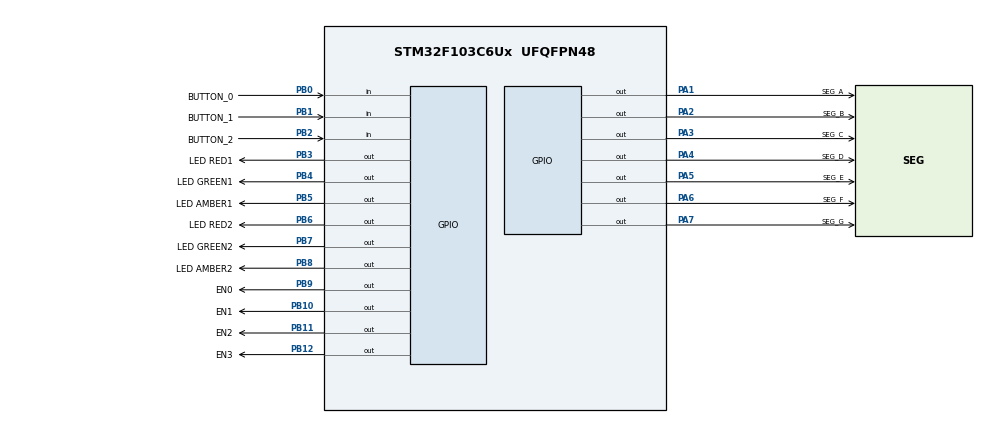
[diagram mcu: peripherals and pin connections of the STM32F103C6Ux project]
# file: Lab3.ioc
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Mcu.Family=STM32F1
Mcu.Name=STM32F103C6Ux
Mcu.Package=UFQFPN48
NVIC.PriorityGroup=NVIC_PRIORITYGROUP_4
NVIC.TIM2_IRQn=true\:0\:0\:false\:false\:true\:true\:true
PA1.GPIO_Label=SEG_A
PA1.Signal=GPIO_Output
PA2.GPIO_Label=SEG_B
PA2.Signal=GPIO_Output
PA3.GPIO_Label=SEG_C
PA3.Signal=GPIO_Output
PA4.GPIO_Label=SEG_D
PA4.Signal=GPIO_Output
PA5.GPIO_Label=SEG_E
PA5.Signal=GPIO_Output
PA6.GPIO_Label=SEG_F
PA6.Signal=GPIO_Output
PA7.GPIO_Label=SEG_G
PA7.Signal=GPIO_Output
PB0.GPIO_Label=BUTTON_0
PB0.Signal=GPIO_Input
PB1.GPIO_Label=BUTTON_1
PB1.Signal=GPIO_Input
PB10.GPIO_Label=EN1
PB10.Signal=GPIO_Output
PB11.GPIO_Label=EN2
PB11.Signal=GPIO_Output
PB12.GPIO_Label=EN3
PB12.Signal=GPIO_Output
PB2.GPIO_Label=BUTTON_2
PB2.Signal=GPIO_Input
PB3.GPIO_Label=LED RED1
PB3.Signal=GPIO_Output
PB4.GPIO_Label=LED GREEN1
PB4.Signal=GPIO_Output
PB5.GPIO_Label=LED AMBER1
PB5.Signal=GPIO_Output
PB6.GPIO_Label=LED RED2
PB6.Signal=GPIO_Output
PB7.GPIO_Label=LED GREEN2
PB7.Signal=GPIO_Output
PB8.GPIO_Label=LED AMBER2
PB8.Signal=GPIO_Output
PB9.GPIO_Label=EN0
PB9.Signal=GPIO_Output
ProjectManager.HeapSize=0x200
ProjectManager.StackSize=0x400
ProjectManager.TargetToolchain=STM32CubeIDE
RCC.APB1Freq_Value=8000000
RCC.APB2Freq_Value=8000000
TIM2.Period=9
TIM2.Prescaler=7999
VP_SYS_VS_ND.Mode=No_Debug
VP_TIM2_VS_ClockSourceINT.Mode=Internal
board=custom

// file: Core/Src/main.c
/* USER CODE BEGIN Header */
/* USER CODE END Header */
#include "main.h"

/* USER CODE BEGIN Includes */
#include "input_reading.h"
#include "software_timer.h"
#include "traffic_led.h"
#include "led_display.h"
#include "fsm.h"
/* USER CODE END Includes */

TIM_HandleTypeDef htim2;

void SystemClock_Config(void);
static void MX_GPIO_Init(void);
static void MX_TIM2_Init(void);

int main(void)
{

  /* MCU Configuration--------------------------------------------------------*/

  /* Reset of all peripherals, Initializes the Flash interface and the Systick. */
  HAL_Init();

  /* Configure the system clock */
  SystemClock_Config();

  /* Initialize all configured peripherals */
  MX_GPIO_Init();
  MX_TIM2_Init();
  /* USER CODE BEGIN 2 */
  HAL_TIM_Base_Start_IT (&htim2 );

   readButtonInit();
   LED_TRAFFIC_STORE_BUFFER(5, 0);
   LED_TRAFFIC_STORE_BUFFER(2, 1);
   LED_TRAFFIC_STORE_BUFFER(3, 2);
   LED_TRAFFIC_LOAD_BUFFER();

   setTimer(1000);
   setBlinkLedTimer(250);
   setLED7Timer(1000);
  /* USER CODE END 2 */

  /* Infinite loop */
  /* USER CODE BEGIN WHILE */
  while (1){
	  fsm_output_handle();
  }
    /* USER CODE END WHILE */

}

void SystemClock_Config(void)
{
  RCC_OscInitTypeDef RCC_OscInitStruct = {0};
  RCC_ClkInitTypeDef RCC_ClkInitStruct = {0};

  /** Initializes the RCC Oscillators according to the specified parameters
  * in the RCC_OscInitTypeDef structure.
  */
  RCC_OscInitStruct.OscillatorType = RCC_OSCILLATORTYPE_HSI;
  RCC_OscInitStruct.HSIState = RCC_HSI_ON;
  RCC_OscInitStruct.HSICalibrationValue = RCC_HSICALIBRATION_DEFAULT;
  RCC_OscInitStruct.PLL.PLLState = RCC_PLL_NONE;
  if (HAL_RCC_OscConfig(&RCC_OscInitStruct) != HAL_OK)
  {
    Error_Handler();
  }
  /** Initializes the CPU, AHB and APB buses clocks
  */
  RCC_ClkInitStruct.ClockType = RCC_CLOCKTYPE_HCLK|RCC_CLOCKTYPE_SYSCLK
                              |RCC_CLOCKTYPE_PCLK1|RCC_CLOCKTYPE_PCLK2;
  RCC_ClkInitStruct.SYSCLKSource = RCC_SYSCLKSOURCE_HSI;
  RCC_ClkInitStruct.AHBCLKDivider = RCC_SYSCLK_DIV1;
  RCC_ClkInitStruct.APB1CLKDivider = RCC_HCLK_DIV1;
  RCC_ClkInitStruct.APB2CLKDivider = RCC_HCLK_DIV1;

  if (HAL_RCC_ClockConfig(&RCC_ClkInitStruct, FLASH_LATENCY_0) != HAL_OK)
  {
    Error_Handler();
  }
}

static void MX_TIM2_Init(void)
{

  TIM_ClockConfigTypeDef sClockSourceConfig = {0};
  TIM_MasterConfigTypeDef sMasterConfig = {0};

  htim2.Instance = TIM2;
  htim2.Init.Prescaler = 7999;
  htim2.Init.CounterMode = TIM_COUNTERMODE_UP;
  htim2.Init.Period = 9;
  htim2.Init.ClockDivision = TIM_CLOCKDIVISION_DIV1;
  htim2.Init.AutoReloadPreload = TIM_AUTORELOAD_PRELOAD_DISABLE;
  if (HAL_TIM_Base_Init(&htim2) != HAL_OK)
  {
    Error_Handler();
  }
  sClockSourceConfig.ClockSource = TIM_CLOCKSOURCE_INTERNAL;
  if (HAL_TIM_ConfigClockSource(&htim2, &sClockSourceConfig) != HAL_OK)
  {
    Error_Handler();
  }
  sMasterConfig.MasterOutputTrigger = TIM_TRGO_RESET;
  sMasterConfig.MasterSlaveMode = TIM_MASTERSLAVEMODE_DISABLE;
  if (HAL_TIMEx_MasterConfigSynchronization(&htim2, &sMasterConfig) != HAL_OK)
  {
    Error_Handler();
  }
  /* USER CODE BEGIN TIM2_Init 2 */
  HAL_TIM_Base_Start_IT(&htim2);
  /* USER CODE END TIM2_Init 2 */

}

static void MX_GPIO_Init(void)
{
  GPIO_InitTypeDef GPIO_InitStruct = {0};

  /* GPIO Ports Clock Enable */
  __HAL_RCC_GPIOA_CLK_ENABLE();
  __HAL_RCC_GPIOB_CLK_ENABLE();

  /*Configure GPIO pin Output Level */
  HAL_GPIO_WritePin(GPIOA, SEG_A_Pin|SEG_B_Pin|SEG_C_Pin|SEG_D_Pin
                          |SEG_E_Pin|SEG_F_Pin|SEG_G_Pin, GPIO_PIN_RESET);

  /*Configure GPIO pin Output Level */
  HAL_GPIO_WritePin(GPIOB, EN1_Pin|EN2_Pin|EN3_Pin|LED_RED1_Pin
                          |LED_GREEN1_Pin|LED_AMBER1_Pin|LED_RED2_Pin|LED_GREEN2_Pin
                          |LED_AMBER2_Pin|EN0_Pin, GPIO_PIN_RESET);

  /*Configure GPIO pins : SEG_A_Pin SEG_B_Pin SEG_C_Pin SEG_D_Pin
                           SEG_E_Pin SEG_F_Pin SEG_G_Pin */
  GPIO_InitStruct.Pin = SEG_A_Pin|SEG_B_Pin|SEG_C_Pin|SEG_D_Pin
                          |SEG_E_Pin|SEG_F_Pin|SEG_G_Pin;
  GPIO_InitStruct.Mode = GPIO_MODE_OUTPUT_PP;
  GPIO_InitStruct.Pull = GPIO_NOPULL;
  GPIO_InitStruct.Speed = GPIO_SPEED_FREQ_LOW;
  HAL_GPIO_Init(GPIOA, &GPIO_InitStruct);

  /*Configure GPIO pins : BUTTON_0_Pin BUTTON_1_Pin BUTTON_2_Pin */
  GPIO_InitStruct.Pin = BUTTON_0_Pin|BUTTON_1_Pin|BUTTON_2_Pin;
  GPIO_InitStruct.Mode = GPIO_MODE_INPUT;
  GPIO_InitStruct.Pull = GPIO_NOPULL;
  HAL_GPIO_Init(GPIOB, &GPIO_InitStruct);

  /*Configure GPIO pins : EN1_Pin EN2_Pin EN3_Pin LED_RED1_Pin
                           LED_GREEN1_Pin LED_AMBER1_Pin LED_RED2_Pin LED_GREEN2_Pin
                           LED_AMBER2_Pin EN0_Pin */
  GPIO_InitStruct.Pin = EN1_Pin|EN2_Pin|EN3_Pin|LED_RED1_Pin
                          |LED_GREEN1_Pin|LED_AMBER1_Pin|LED_RED2_Pin|LED_GREEN2_Pin
                          |LED_AMBER2_Pin|EN0_Pin;
  GPIO_InitStruct.Mode = GPIO_MODE_OUTPUT_PP;
  GPIO_InitStruct.Pull = GPIO_NOPULL;
  GPIO_InitStruct.Speed = GPIO_SPEED_FREQ_LOW;
  HAL_GPIO_Init(GPIOB, &GPIO_InitStruct);

}

/* USER CODE BEGIN 4 */
void HAL_TIM_PeriodElapsedCallback ( TIM_HandleTypeDef * htim )
{
	 updateButtonStatus();
	  timer_run();
}
/* USER CODE END 4 */

void Error_Handler(void)
{
}

/************************ (C) COPYRIGHT STMicroelectronics *****END OF FILE****/
